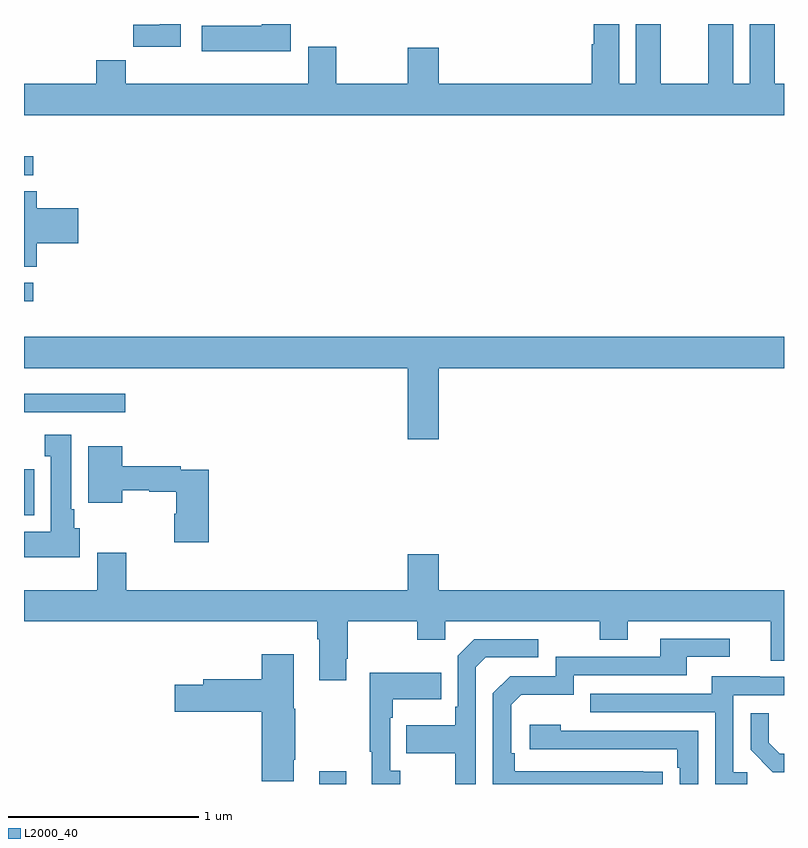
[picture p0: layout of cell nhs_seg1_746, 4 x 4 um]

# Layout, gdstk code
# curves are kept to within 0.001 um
import gdstk
lib = gdstk.Library(unit=1e-6, precision=1e-09)
def R(c, l, rs):  # rectangles x0, y0, x1, y1
    for r in rs: c.add(gdstk.rectangle(r[:2], r[2:], *l))
def P(c, l, *ps):  # polygons
    for p in ps: c.add(gdstk.Polygon(p, *l))
L2000_40 = (2000, 40)

nhs_seg1_746 = lib.new_cell('nhs_seg1_746')
R(nhs_seg1_746, L2000_40, [(152.555,560.199,152.695,560.266), (151,561.614,151.054,561.856), (151,562.155,151.534,562.252), (151,562.74,151.048,562.836), (151,563.403,151.048,563.502)])
P(nhs_seg1_746, L2000_40, [(152.404,564.199),(152.252,564.199),(152.252,564.19),(151.935,564.19),(151.935,564.056),(152.404,564.056)],
  [(151.825,564.199),(151.715,564.199),(151.715,564.196),(151.576,564.196),(151.576,564.078),(151.825,564.078)],
  [(155,563.884),(154.951,563.884),(154.951,564.092),(154.95,564.092),(154.95,564.199),(154.82,564.199),(154.82,563.884),(154.732,563.884),(154.732,564.199),(154.602,564.199),(154.602,564.092),(154.601,564.092),(154.601,563.884),(154.351,563.884),(154.351,564.092),(154.35,564.092),(154.35,564.199),(154.22,564.199),(154.22,563.884),(154.132,563.884),(154.132,564.199),(153.998,564.199),(153.998,564.092),(153.989,564.092),(153.989,563.884),(153.184,563.884),(153.184,564.073),(153.02,564.073),(153.02,563.884),(152.643,563.884),(152.643,564.079),(152.495,564.079),(152.495,563.884),(151.535,563.884),(151.535,564.008),(151.379,564.008),(151.379,563.884),(151,563.884),(151,563.72),(155,563.72)],
  [(151.067,563.045),(151.285,563.045),(151.285,563.228),(151.067,563.228),(151.067,563.318),(151,563.318),(151,562.921),(151.067,562.921)],
  [(153.184,562.388),(155,562.388),(155,562.552),(151,562.552),(151,562.388),(153.02,562.388),(153.02,562.014),(153.184,562.014)],
  [(151.294,561.546),(151.264,561.546),(151.264,561.646),(151.249,561.646),(151.249,562.036),(151.109,562.036),(151.109,561.923),(151.142,561.923),(151.142,561.526),(151,561.526),(151,561.392),(151.294,561.392)],
  [(151.973,561.852),(151.826,561.852),(151.826,561.872),(151.516,561.872),(151.516,561.976),(151.337,561.976),(151.337,561.68),(151.516,561.68),(151.516,561.744),(151.659,561.744),(151.659,561.736),(151.802,561.736),(151.802,561.621),(151.79,561.621),(151.79,561.471),(151.973,561.471)],
  [(152.695,560.857),(152.703,560.857),(152.703,561.056),(153.07,561.056),(153.07,560.957),(153.216,560.957),(153.216,561.056),(154.03,561.056),(154.03,560.957),(154.177,560.957),(154.177,561.056),(154.931,561.056),(154.931,560.848),(155,560.848),(155,561.22),(153.184,561.22),(153.184,561.409),(153.02,561.409),(153.02,561.22),(151.538,561.22),(151.538,561.415),(151.385,561.415),(151.385,561.22),(151,561.22),(151,561.056),(152.543,561.056),(152.543,560.96),(152.555,560.96),(152.555,560.745),(152.695,560.745)],
  [(154.361,560.264),(153.584,560.265),(153.584,560.362),(153.564,560.362),(153.564,560.616),(153.617,560.669),(153.894,560.669),(153.894,560.772),(154.489,560.772),(154.489,560.868),(154.714,560.868),(154.714,560.964),(154.349,560.964),(154.349,560.868),(153.798,560.868),(153.798,560.766),(153.558,560.766),(153.468,560.676),(153.468,560.199),(154.361,560.199)],
  [(153.378,560.814),(153.429,560.865),(153.706,560.865),(153.706,560.961),(153.369,560.961),(153.282,560.874),(153.282,560.605),(153.27,560.605),(153.27,560.509),(153.013,560.509),(153.013,560.362),(153.27,560.362),(153.27,560.199),(153.378,560.199)],
  [(152.419,560.326),(152.427,560.326),(152.427,560.595),(152.419,560.595),(152.419,560.881),(152.252,560.881),(152.252,560.751),(151.943,560.751),(151.943,560.721),(151.794,560.721),(151.794,560.579),(152.252,560.579),(152.252,560.214),(152.419,560.214)],
  [(152.98,560.27),(152.928,560.27),(152.928,560.549),(152.941,560.549),(152.941,560.645),(153.197,560.645),(153.197,560.785),(152.82,560.785),(152.82,560.369),(152.831,560.369),(152.831,560.199),(152.98,560.199)],
  [(154.807,560.262),(154.734,560.262),(154.734,560.667),(155,560.667),(155,560.763),(154.873,560.763),(154.873,560.767),(154.619,560.767),(154.619,560.673),(153.979,560.673),(153.979,560.577),(154.638,560.577),(154.638,560.199),(154.807,560.199)],
  [(155,560.358),(154.978,560.358),(154.921,560.415),(154.921,560.572),(154.824,560.572),(154.824,560.378),(154.94,560.262),(155,560.262)],
  [(154.548,560.478),(153.824,560.478),(153.824,560.512),(153.663,560.512),(153.663,560.382),(154.439,560.382),(154.439,560.285),(154.452,560.285),(154.452,560.199),(154.548,560.199)])

lib.write_gds('nhs_seg1_746.gds')
